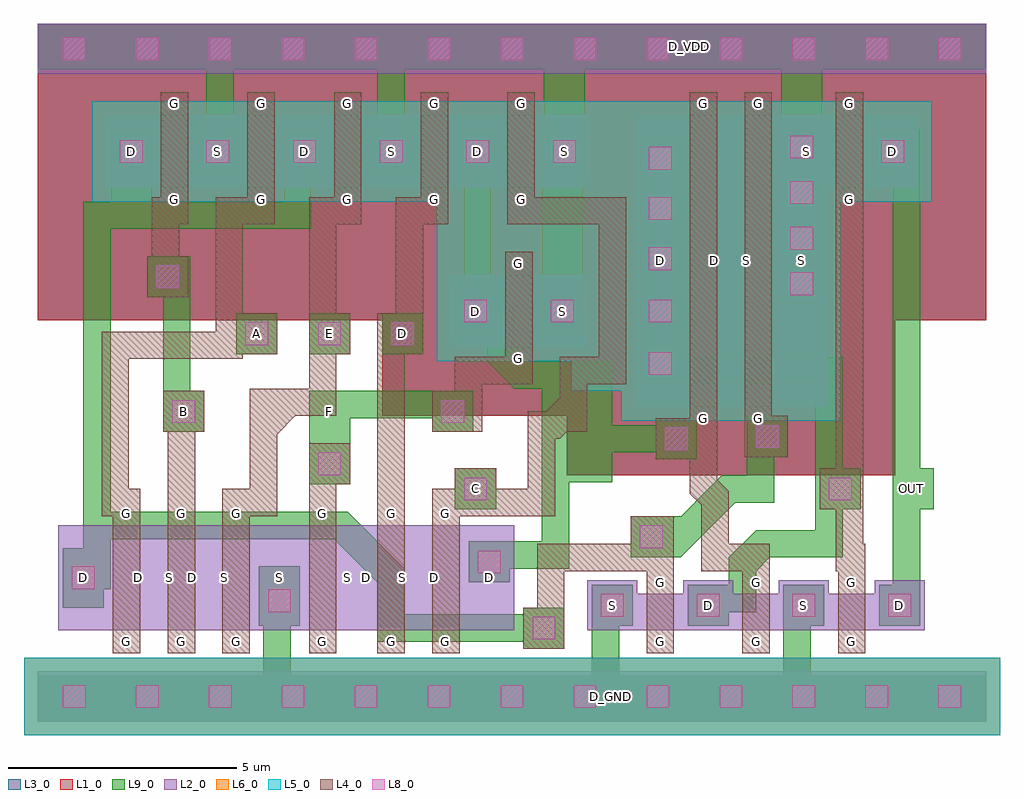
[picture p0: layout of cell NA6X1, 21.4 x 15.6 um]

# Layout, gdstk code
import gdstk
lib = gdstk.Library(unit=1e-6, precision=1e-09)
def R(c, l, rs):  # rectangles x0, y0, x1, y1
    for r in rs: c.add(gdstk.rectangle(r[:2], r[2:], *l))
def A(c, l, x, y, w, h, nx, ny, dx, dy):  # array of equal rectangles
    R(c, l, [(x+i*dx, y+j*dy, x+i*dx+w, y+j*dy+h) for i in range(nx) for j in range(ny)])
def P(c, l, *ps):  # polygons
    for p in ps: c.add(gdstk.Polygon(p, *l))
L1_0 = (1, 0)
L2_0 = (2, 0)
L3_0 = (3, 0)
L4_0 = (4, 0)
L5_0 = (5, 0)
L6_0 = (6, 0)
L8_0 = (8, 0)
L9_0 = (9, 0)

na6x1 = lib.new_cell('NA6X1')
A(na6x1, L1_0, -3.35, 8.8, 1.6, 6.5, 13, 1, 1.6, 0)
A(na6x1, L1_0, -3.35, 10.2, 6, 4.6, 5, 1, 1.9, 0)
R(na6x1, L1_0, [(8.25,5.4,14.25,14.8), (9.45,5.4,15.45,14.8), (4.2,6.7,10.2,11.3), (11.45,10.2,17.45,14.8)])
A(na6x1, L2_0, -3.35, 0, 1.6, 1.1, 13, 2, 1.6, 14.2)
A(na6x1, L2_0, -1.8, 2, 0.8, 2.3, 3, 1, 1.2, 0)
A(na6x1, L2_0, 9.8, 2, 1, 0.8, 3, 1, 2.1, 0)
A(na6x1, L2_0, -0.75, 11.7, 0.8, 1.6, 5, 1, 1.9, 0)
R(na6x1, L2_0, [(-2.9,2,-1.8,4.3), (-1.7,2,-0.6,4.3), (-1,2,0.1,4.3), (-0.5,2,0.6,4.3), (0.2,2,1.3,4.3), (1.4,2,2.5,4.3), (1.4,2,2.5,4.3), (2.5,2,3.3,4.3), (2.9,2,4,4.3), (3.3,2,4.4,4.3), (4,2,4.8,4.3), (4.1,2,5.2,4.3), (4.8,2,5.9,4.3), (5.2,2,6,4.3), (6,2,7.1,4.3), (8.7,2,9.8,3.1), (10.8,2,11.9,3.1), (10.8,2,11.9,3.1), (12.9,2,14,3.1), (12.9,2,14,3.1), (15,2,16.1,3.1), (9.75,6.9,10.85,13.3), (10.85,6.9,11.65,13.3), (10.95,6.9,12.05,13.3), (11.65,6.9,12.75,13.3), (12.05,6.9,12.85,13.3), (12.85,6.9,13.95,13.3), (5.7,8.2,6.8,9.8), (6.8,8.2,7.6,9.8), (7.6,8.2,8.7,9.8), (12.85,9.05,13.95,13.15), (-1.85,11.7,-0.75,13.3), (0.05,11.7,1.15,13.3), (0.05,11.7,1.15,13.3), (1.95,11.7,3.05,13.3), (1.95,11.7,3.05,13.3), (3.85,11.7,4.95,13.3), (3.85,11.7,4.95,13.3), (5.75,11.7,6.85,13.3), (5.75,11.7,6.85,13.3), (7.65,11.7,8.75,13.3), (12.95,11.7,14.05,13.3), (14.05,11.7,14.85,13.3), (14.85,11.7,15.95,13.3)])
A(na6x1, L3_0, -3.35, 8.8, 1.6, 6.5, 13, 1, 1.6, 0)
A(na6x1, L3_0, -3.35, 10.2, 6, 4.6, 5, 1, 1.9, 0)
R(na6x1, L3_0, [(8.25,5.4,14.25,14.8), (9.45,5.4,15.45,14.8), (4.2,6.7,10.2,11.3), (11.45,10.2,17.45,14.8)])
A(na6x1, L4_0, -1.7, 1.5, 0.6, 3.3, 3, 1, 1.2, 0)
A(na6x1, L4_0, -1.7, 1.5, 0.6, 0.5, 3, 2, 1.2, 2.8)
A(na6x1, L4_0, 10, 1.5, 0.6, 0.5, 3, 2, 2.1, 1.3)
A(na6x1, L4_0, 10, 1.5, 0.6, 1.8, 3, 1, 2.1, 0)
A(na6x1, L4_0, 1, 8.05, 0.9, 0.9, 3, 1, 1.6, 0)
A(na6x1, L4_0, -0.65, 11.2, 0.6, 0.5, 5, 2, 1.9, 2.1)
A(na6x1, L4_0, -0.65, 11.2, 0.6, 2.6, 5, 1, 1.9, 0)
R(na6x1, L4_0, [(-0.5,1.5,0.1,7.25), (2.6,1.5,3.2,4.8), (2.6,1.5,3.2,2), (2.6,1.5,3.2,6.05), (4.1,1.5,4.7,4.8), (4.1,1.5,4.7,2), (4.1,1.5,4.7,5.4), (5.3,1.5,5.9,4.8), (5.3,1.5,5.9,2), (10,1.55,10.6,4.5), (7.3,1.6,8.2,2.5), (9.65,3.6,10.55,4.5), (2.6,4.3,3.2,4.8), (4.1,4.3,4.7,4.8), (5.3,4.3,5.9,4.8), (-1.95,4.5,-1.1,5.1), (0.7,4.5,1.9,5.1), (5.8,4.65,6.7,5.55), (13.8,4.65,14.7,5.55), (4.1,4.8,4.7,8.95), (2.6,5.2,3.5,6.1), (10.2,5.75,11.1,6.65), (12.15,5.8,12.75,7.85), (12.2,5.8,13.1,6.7), (-0.6,6.35,0.3,7.25), (5.3,6.35,6.2,7.25), (5.8,6.35,6.4,8), (10.95,6.4,11.55,6.9), (10.95,6.4,11.55,13.8), (12.15,6.4,12.75,6.9), (12.15,6.4,12.75,13.8), (6.9,7.7,7.5,8.2), (6.9,7.7,7.5,10.3), (-0.95,9.3,-0.05,10.2), (6.9,9.8,7.5,10.3), (14.15,11.2,14.75,11.7), (14.15,11.2,14.75,13.8), (10.95,13.3,11.55,13.8), (12.15,13.3,12.75,13.8), (14.15,13.3,14.75,13.8)])
P(na6x1, L4_0, [(-0.85,9.3),(-0.25,9.3),(-0.25,10.9),(-0.05,10.9),(-0.05,13.8),(-0.65,13.8),(-0.65,11.5),(-0.85,11.5)],
  [(-1.95,4.5),(-1.35,4.5),(-1.35,7.95),(1.15,7.95),(1.15,8.95),(0.55,8.95),(0.55,8.55),(-1.95,8.55)],
  [(5.8,7.4),(7.5,7.4),(7.5,8.5),(6.9,8.5),(6.9,8),(5.8,8)],
  [(5.3,1.5),(5.9,1.5),(5.9,4.5),(8,4.5),(8,6.2),(8.1,6.2),(8.7,6.8),(8.7,8),(8.1,8),(8.1,7.1),(7.8,6.8),(7.4,6.8),(7.4,5.1),(5.3,5.1)],
  [(6.95,10.9),(8.95,10.9),(8.95,8),(8.1,8),(8.1,6.35),(8.7,6.35),(8.7,7.4),(9.55,7.4),(9.55,11.5),(7.55,11.5),(7.55,13.8),(6.95,13.8)],
  [(7.6,1.75),(8.2,1.75),(8.2,3.3),(10.55,3.3),(10.55,3.9),(7.6,3.9)],
  [(1.3,4.8),(1.9,4.8),(1.9,6.3),(2.3,6.7),(3.2,6.7),(3.2,8.95),(2.6,8.95),(2.6,7.3),(2,7.3),(1.3,6.6)],
  [(2.6,8.05),(3.2,8.05),(3.2,10.9),(3.75,10.9),(3.75,13.8),(3.15,13.8),(3.15,11.5),(2.6,11.5)],
  [(0.55,7.95),(1.15,7.95),(1.15,10.9),(1.85,10.9),(1.85,13.8),(1.25,13.8),(1.25,11.5),(0.55,11.5)],
  [(1.3,5.7),(1.9,5.7),(1.9,6.7),(2.9,6.7),(2.9,7.3),(1.3,7.3)],
  [(4.5,8.05),(5.1,8.05),(5.1,10.9),(5.65,10.9),(5.65,13.8),(5.05,13.8),(5.05,11.5),(4.5,11.5)],
  [(14.15,3.3),(14.8,3.3),(14.8,3.9),(14.75,3.9),(14.75,13.8),(14.15,13.8)],
  [(10.95,5),(11.2,4.75),(11.2,3.3),(12.1,3.3),(12.1,2.25),(12.7,2.25),(12.7,3.9),(11.8,3.9),(11.8,5.05),(11.55,5.3),(11.55,7.4),(10.95,7.4)])
A(na6x1, L5_0, -1.75, -0.3, 1.6, 1.7, 11, 1, 1.6, 0)
A(na6x1, L5_0, -2.15, 11.4, 3.6, 2.2, 5, 1, 1.9, 0)
R(na6x1, L5_0, [(-3.65,-0.3,-1.75,1.4), (15.85,-0.3,17.75,1.4), (9.45,6.6,13.05,13.6), (10.65,6.6,14.25,13.6), (8.35,7.25,8.45,7.9), (8.45,7.25,9.9,13.6), (5.4,7.9,9,10.1), (5.4,10.1,9.05,11.4), (12.65,11.4,16.25,13.6)])
A(na6x1, L6_0, -1.75, -0.3, 1.6, 1.7, 11, 1, 1.6, 0)
A(na6x1, L6_0, -2.15, 11.4, 3.6, 2.2, 5, 1, 1.9, 0)
R(na6x1, L6_0, [(-3.65,-0.3,-1.75,1.4), (15.85,-0.3,17.75,1.4), (9.45,6.6,13.05,13.6), (10.65,6.6,14.25,13.6), (8.35,7.25,9.9,13.6), (8.35,7.25,8.45,7.9), (5.4,7.9,9,10.1), (5.4,10.1,9.05,11.4), (8.35,10.1,8.45,11.4), (12.65,11.4,16.25,13.6)])
A(na6x1, L8_0, -2.8, 0.3, 0.5, 0.5, 13, 2, 1.6, 14.2)
A(na6x1, L8_0, 10.05, 7.6, 0.5, 0.5, 1, 3, 0, 1.15)
A(na6x1, L8_0, 1.2, 8.25, 0.5, 0.5, 3, 1, 1.6, 0)
A(na6x1, L8_0, 13.15, 9.35, 0.5, 0.5, 1, 4, 0, 1)
R(na6x1, L8_0, [(7.5,1.8,8,2.3), (9,2.3,9.5,2.8), (11.1,2.3,11.6,2.8), (11.1,2.3,11.6,2.8), (13.2,2.3,13.7,2.8), (13.2,2.3,13.7,2.8), (15.3,2.3,15.8,2.8), (1.7,2.4,2.2,2.9), (-2.6,2.9,-2.1,3.4), (6.3,3.25,6.8,3.75), (9.85,3.8,10.35,4.3), (6,4.85,6.5,5.35), (14,4.85,14.5,5.35), (2.8,5.4,3.3,5.9), (10.4,5.95,10.9,6.45), (12.4,6,12.9,6.5), (-0.4,6.55,0.1,7.05), (5.5,6.55,6,7.05), (6,8.75,6.5,9.25), (7.9,8.75,8.4,9.25), (-0.75,9.5,-0.25,10), (10.05,11,10.55,11.5), (10.05,12.1,10.55,12.6), (-1.55,12.25,-1.05,12.75), (0.35,12.25,0.85,12.75), (0.35,12.25,0.85,12.75), (2.25,12.25,2.75,12.75), (2.25,12.25,2.75,12.75), (4.15,12.25,4.65,12.75), (4.15,12.25,4.65,12.75), (6.05,12.25,6.55,12.75), (6.05,12.25,6.55,12.75), (7.95,12.25,8.45,12.75), (15.15,12.25,15.65,12.75)])
A(na6x1, L9_0, -3.35, 0, 1.6, 1, 13, 2, 1.6, 14.3)
A(na6x1, L9_0, 1, 8.05, 0.9, 0.9, 3, 1, 1.6, 0)
A(na6x1, L9_0, 1.15, 8.2, 0.6, 0.6, 3, 1, 1.6, 0)
R(na6x1, L9_0, [(8.9,0.25,9.5,0.85), (-1.3,0.4,15.6,1), (1.6,0.55,2.2,3.4), (8.8,0.6,9.4,3), (13,0.6,13.6,3), (7.3,1.6,8.2,2.5), (1.5,2.1,2.4,3.4), (8.8,2.1,9.7,3), (10.9,2.1,11.8,3), (10.9,2.1,11.8,3), (13,2.1,13.9,3), (13,2.1,13.9,3), (15.1,2.1,16,3), (15.4,2.1,16,13), (-2.8,2.5,-1.9,3.8), (-2.35,2.9,-1.75,4.6), (6.1,3.05,7,3.95), (9.65,3.6,10.55,4.5), (9.65,3.9,10.9,4.5), (-2.35,4,-1.75,10.2), (5.8,4.65,6.7,5.55), (13.8,4.65,14.7,5.55), (15.4,4.65,16.3,5.55), (5.95,4.8,6.55,5.4), (15.55,4.8,16.15,5.4), (12.2,4.9,12.8,6.7), (2.6,5.2,3.5,6.1), (2.6,5.75,3.5,6.6), (10.2,5.75,11.1,6.65), (12.2,5.8,13.1,6.7), (7.7,5.85,8.7,7.35), (8.65,5.9,11.1,6.5), (-0.6,6.35,0.3,7.25), (2.6,6.35,3.5,7.25), (5.3,6.35,6.2,7.25), (-0.45,6.5,0.15,7.1), (2.75,6.5,3.35,7.1), (-0.6,6.6,0,10.2), (2.6,6.65,6.2,7.25), (9.85,7.4,10.75,12.8), (5.8,8.5,6.7,9.5), (7.7,8.5,8.6,9.5), (6,8.65,6.6,12.75), (12.95,9.15,13.85,13.05), (-0.95,9.3,-0.05,10.2), (-2.35,10.2,-1.75,10.8), (-1.75,10.9,-0.85,12.45), (-1.75,12,-0.85,13), (0.15,12,1.05,13), (0.15,12,1.05,13), (2.05,12,2.95,13), (2.05,12,2.95,13), (3.95,12,4.85,13), (3.95,12,4.85,13), (5.85,12,6.75,13), (5.85,12,6.75,13), (7.75,12,8.65,13), (14.95,12,15.85,13), (7.75,12.1,8.65,15.2), (0.35,12.15,0.95,15.05), (4.1,12.15,4.7,15.05), (12.95,12.15,13.85,15.2), (-1.55,14.45,15.4,15.05), (10.75,14.65,11.35,15.25)])
P(na6x1, L9_0, [(9.65,3.6),(10.75,3.6),(11.95,4.8),(12.8,4.8),(12.8,5.4),(11.65,5.4),(10.45,4.2),(9.65,4.2)],
  [(9.85,7.4),(13.7,7.4),(13.7,4.2),(12.4,4.2),(11.8,3.6),(11.8,2.4),(12.4,2.4),(12.4,3.3),(12.7,3.6),(14.3,3.6),(14.3,8),(9.85,8)],
  [(-2.35,4),(3.15,4),(4.1,3.05),(4.1,1.75),(8.2,1.75),(8.2,2.35),(4.7,2.35),(4.7,3.35),(3.45,4.6),(-2.35,4.6)],
  [(5.8,8.5),(6.5,8.5),(6.5,7.9),(7.1,7.3),(8.65,7.3),(8.65,5.85),(7.7,5.85),(7.7,3.95),(6.4,3.95),(6.4,3.35),(8.3,3.35),(8.3,5.25),(9.25,5.25),(9.25,7.9),(7.4,7.9),(7.1,8.2),(7.1,9.1),(5.8,9.1)],
  [(-2.35,10.8),(2.65,10.8),(2.65,13),(2.05,13),(2.05,11.4),(-2.35,11.4)],
  [(7.7,8.6),(8.6,8.6),(8.6,12),(8.65,12),(8.65,12.9),(7.7,12.9)])
na6x1.add(gdstk.Label('D', (0.051,3.151), layer=2, texttype=0))
na6x1.add(gdstk.Label('G', (1,1.752), layer=4, texttype=0))
na6x1.add(gdstk.Label('G', (1,4.552), layer=4, texttype=0))
na6x1.add(gdstk.Label('S', (1.951,3.151), layer=2, texttype=0))
na6x1.add(gdstk.Label('D', (3.849,3.151), layer=2, texttype=0))
na6x1.add(gdstk.Label('G', (2.9,1.752), layer=4, texttype=0))
na6x1.add(gdstk.Label('G', (2.9,4.552), layer=4, texttype=0))
na6x1.add(gdstk.Label('S', (1.949,3.151), layer=2, texttype=0))
na6x1.add(gdstk.Label('D', (-1.149,3.151), layer=2, texttype=0))
na6x1.add(gdstk.Label('G', (-0.2,1.752), layer=4, texttype=0))
na6x1.add(gdstk.Label('G', (-0.2,4.552), layer=4, texttype=0))
na6x1.add(gdstk.Label('S', (0.751,3.151), layer=2, texttype=0))
na6x1.add(gdstk.Label('G', (12.4,1.752), layer=4, texttype=0))
na6x1.add(gdstk.Label('G', (12.4,3.052), layer=4, texttype=0))
na6x1.add(gdstk.Label('S', (13.451,2.551), layer=9, texttype=0))
na6x1.add(gdstk.Label('D', (11.351,2.551), layer=9, texttype=0))
na6x1.add(gdstk.Label('G', (10.3,1.752), layer=4, texttype=0))
na6x1.add(gdstk.Label('G', (10.3,3.052), layer=4, texttype=0))
na6x1.add(gdstk.Label('S', (9.249,2.551), layer=9, texttype=0))
na6x1.add(gdstk.Label('D', (11.349,2.551), layer=9, texttype=0))
na6x1.add(gdstk.Label('D', (5.349,3.151), layer=2, texttype=0))
na6x1.add(gdstk.Label('G', (4.4,1.752), layer=4, texttype=0))
na6x1.add(gdstk.Label('G', (4.4,4.552), layer=4, texttype=0))
na6x1.add(gdstk.Label('S', (3.449,3.151), layer=2, texttype=0))
na6x1.add(gdstk.Label('G', (14.5,1.752), layer=4, texttype=0))
na6x1.add(gdstk.Label('G', (14.5,3.052), layer=4, texttype=0))
na6x1.add(gdstk.Label('S', (13.449,2.551), layer=9, texttype=0))
na6x1.add(gdstk.Label('D', (15.549,2.551), layer=9, texttype=0))
na6x1.add(gdstk.Label('G', (-1.4,1.752), layer=4, texttype=0))
na6x1.add(gdstk.Label('G', (-1.4,4.552), layer=4, texttype=0))
na6x1.add(gdstk.Label('S', (-0.449,3.151), layer=2, texttype=0))
na6x1.add(gdstk.Label('D', (-2.349,3.151), layer=9, texttype=0))
na6x1.add(gdstk.Label('D', (6.549,3.151), layer=2, texttype=0))
na6x1.add(gdstk.Label('G', (5.6,1.752), layer=4, texttype=0))
na6x1.add(gdstk.Label('G', (5.6,4.552), layer=4, texttype=0))
na6x1.add(gdstk.Label('S', (4.649,3.151), layer=2, texttype=0))
na6x1.add(gdstk.Label('G', (11.25,6.652), layer=4, texttype=0))
na6x1.add(gdstk.Label('G', (11.25,13.552), layer=4, texttype=0))
na6x1.add(gdstk.Label('S', (12.201,10.101), layer=2, texttype=0))
na6x1.add(gdstk.Label('D', (10.301,10.101), layer=9, texttype=0))
na6x1.add(gdstk.Label('G', (14.45,11.452), layer=4, texttype=0))
na6x1.add(gdstk.Label('G', (14.45,13.552), layer=4, texttype=0))
na6x1.add(gdstk.Label('S', (13.499,12.501), layer=2, texttype=0))
na6x1.add(gdstk.Label('D', (15.399,12.501), layer=9, texttype=0))
na6x1.add(gdstk.Label('G', (-0.35,11.452), layer=4, texttype=0))
na6x1.add(gdstk.Label('G', (-0.35,13.552), layer=4, texttype=0))
na6x1.add(gdstk.Label('S', (0.601,12.501), layer=9, texttype=0))
na6x1.add(gdstk.Label('D', (-1.299,12.501), layer=9, texttype=0))
na6x1.add(gdstk.Label('G', (1.55,11.452), layer=4, texttype=0))
na6x1.add(gdstk.Label('G', (1.55,13.552), layer=4, texttype=0))
na6x1.add(gdstk.Label('S', (0.599,12.501), layer=9, texttype=0))
na6x1.add(gdstk.Label('D', (2.499,12.501), layer=9, texttype=0))
na6x1.add(gdstk.Label('G', (3.45,11.452), layer=4, texttype=0))
na6x1.add(gdstk.Label('G', (3.45,13.552), layer=4, texttype=0))
na6x1.add(gdstk.Label('S', (4.401,12.501), layer=9, texttype=0))
na6x1.add(gdstk.Label('D', (2.501,12.501), layer=9, texttype=0))
na6x1.add(gdstk.Label('G', (5.35,11.452), layer=4, texttype=0))
na6x1.add(gdstk.Label('G', (5.35,13.552), layer=4, texttype=0))
na6x1.add(gdstk.Label('S', (4.399,12.501), layer=9, texttype=0))
na6x1.add(gdstk.Label('D', (6.299,12.501), layer=9, texttype=0))
na6x1.add(gdstk.Label('G', (7.25,11.452), layer=4, texttype=0))
na6x1.add(gdstk.Label('G', (7.25,13.552), layer=4, texttype=0))
na6x1.add(gdstk.Label('S', (8.201,12.501), layer=9, texttype=0))
na6x1.add(gdstk.Label('D', (6.301,12.501), layer=9, texttype=0))
na6x1.add(gdstk.Label('G', (7.2,7.952), layer=4, texttype=0))
na6x1.add(gdstk.Label('G', (7.2,10.052), layer=4, texttype=0))
na6x1.add(gdstk.Label('S', (8.151,9.001), layer=9, texttype=0))
na6x1.add(gdstk.Label('D', (6.251,9.001), layer=9, texttype=0))
na6x1.add(gdstk.Label('G', (12.45,6.652), layer=4, texttype=0))
na6x1.add(gdstk.Label('G', (12.45,13.552), layer=4, texttype=0))
na6x1.add(gdstk.Label('S', (13.401,10.101), layer=2, texttype=0))
na6x1.add(gdstk.Label('D', (11.501,10.101), layer=2, texttype=0))
na6x1.add(gdstk.Label('D_GND', (9.2,0.55), layer=50, texttype=0))
na6x1.add(gdstk.Label('F', (3.05,6.8), layer=50, texttype=0))
na6x1.add(gdstk.Label('A', (1.45,8.5), layer=50, texttype=0))
na6x1.add(gdstk.Label('B', (-0.15,6.8), layer=50, texttype=0))
na6x1.add(gdstk.Label('C', (6.25,5.1), layer=50, texttype=0))
na6x1.add(gdstk.Label('D', (4.65,8.5), layer=50, texttype=0))
na6x1.add(gdstk.Label('OUT', (15.8,5.1), layer=50, texttype=0))
na6x1.add(gdstk.Label('E', (3.05,8.5), layer=50, texttype=0))
na6x1.add(gdstk.Label('D_VDD', (10.95,14.8), layer=50, texttype=0))

lib.write_gds('NA6X1.gds')
